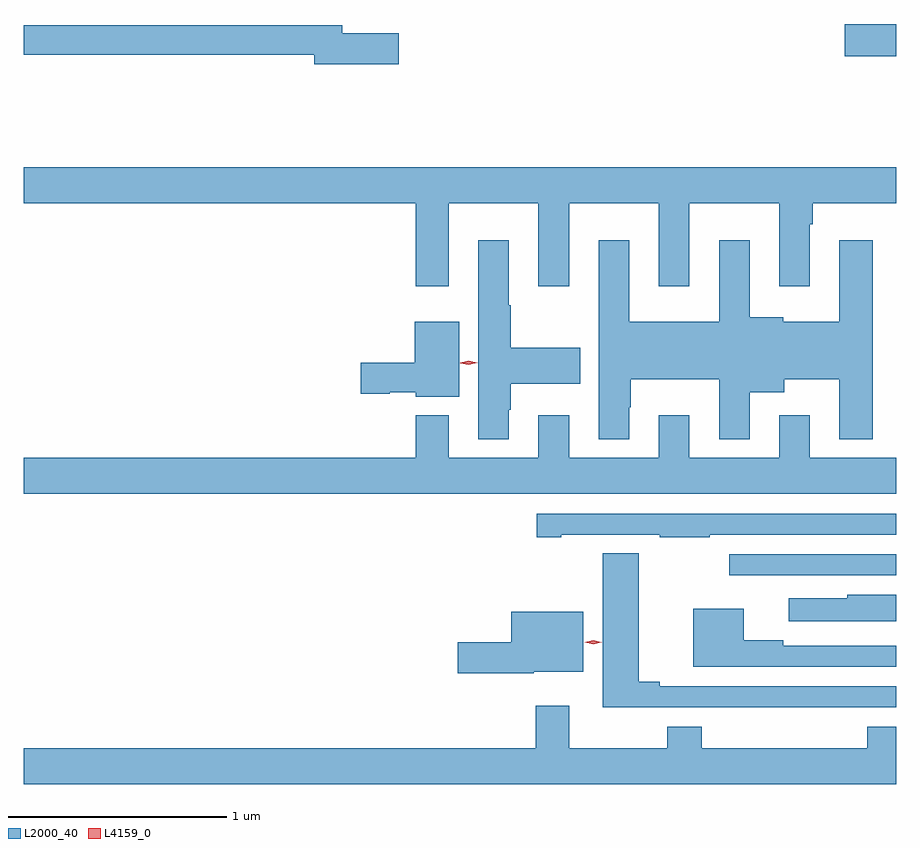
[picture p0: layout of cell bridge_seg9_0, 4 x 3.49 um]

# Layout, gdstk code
import gdstk
lib = gdstk.Library(unit=1e-6, precision=1e-09)
def R(c, l, rs):  # rectangles x0, y0, x1, y1
    for r in rs: c.add(gdstk.rectangle(r[:2], r[2:], *l))
def P(c, l, *ps):  # polygons
    for p in ps: c.add(gdstk.Polygon(p, *l))
L2000_40 = (2000, 40)
L4159_0 = (4159, 0)

bridge_seg9_0 = lib.new_cell('bridge_seg9_0')
R(bridge_seg9_0, L2000_40, [(1056.357,1245.33,1057.123,1245.426), (1056.888,1247.711,1057.123,1247.858)])
P(bridge_seg9_0, L2000_40, [(1054.843,1247.816),(1054.582,1247.816),(1054.582,1247.852),(1053.123,1247.852),(1053.123,1247.716),(1054.454,1247.716),(1054.454,1247.674),(1054.843,1247.674)],
  [(1055.071,1247.036),(1055.483,1247.036),(1055.483,1246.656),(1055.623,1246.656),(1055.623,1247.036),(1056.035,1247.036),(1056.035,1246.656),(1056.175,1246.656),(1056.175,1247.036),(1056.587,1247.036),(1056.587,1246.656),(1056.727,1246.656),(1056.727,1246.94),(1056.74,1246.94),(1056.74,1247.036),(1057.123,1247.036),(1057.123,1247.2),(1053.123,1247.2),(1053.123,1247.036),(1054.919,1247.036),(1054.919,1246.656),(1055.071,1246.656)],
  [(1055.899,1246.1),(1055.907,1246.1),(1055.907,1246.229),(1056.311,1246.229),(1056.311,1245.954),(1056.451,1245.954),(1056.451,1246.169),(1056.61,1246.169),(1056.61,1246.229),(1056.863,1246.229),(1056.863,1245.954),(1057.016,1245.954),(1057.016,1246.867),(1056.863,1246.867),(1056.863,1246.492),(1056.606,1246.492),(1056.606,1246.513),(1056.451,1246.513),(1056.451,1246.867),(1056.311,1246.867),(1056.311,1246.492),(1055.899,1246.492),(1055.899,1246.867),(1055.759,1246.867),(1055.759,1245.954),(1055.899,1245.954)],
  [(1055.347,1246.089),(1055.355,1246.089),(1055.355,1246.208),(1055.674,1246.208),(1055.674,1246.372),(1055.355,1246.372),(1055.355,1246.568),(1055.347,1246.568),(1055.347,1246.867),(1055.207,1246.867),(1055.207,1245.954),(1055.347,1245.954)],
  [(1055.119,1246.492),(1054.916,1246.492),(1054.916,1246.304),(1054.668,1246.304),(1054.668,1246.162),(1054.8,1246.162),(1054.8,1246.169),(1054.92,1246.169),(1054.92,1246.148),(1055.119,1246.148)],
  [(1057.123,1245.868),(1056.727,1245.868),(1056.727,1246.063),(1056.587,1246.063),(1056.587,1245.868),(1056.175,1245.868),(1056.175,1246.063),(1056.035,1246.063),(1056.035,1245.868),(1055.623,1245.868),(1055.623,1246.063),(1055.483,1246.063),(1055.483,1245.868),(1055.071,1245.868),(1055.071,1246.063),(1054.919,1246.063),(1054.919,1245.868),(1053.123,1245.868),(1053.123,1245.704),(1057.123,1245.704)],
  [(1055.587,1245.516),(1056.04,1245.516),(1056.04,1245.504),(1056.269,1245.504),(1056.269,1245.516),(1057.123,1245.516),(1057.123,1245.612),(1055.475,1245.612),(1055.475,1245.504),(1055.587,1245.504)],
  [(1055.984,1244.724),(1056.316,1244.724),(1056.316,1244.723),(1056.908,1244.723),(1056.908,1244.724),(1057.123,1244.724),(1057.123,1244.82),(1056.04,1244.82),(1056.04,1244.84),(1055.944,1244.84),(1055.944,1245.431),(1055.777,1245.431),(1055.777,1244.723),(1055.984,1244.723)],
  [(1057.123,1245.241),(1056.9,1245.241),(1056.9,1245.223),(1056.63,1245.223),(1056.63,1245.119),(1057.123,1245.119)],
  [(1056.42,1244.91),(1057.123,1244.91),(1057.123,1245.006),(1056.606,1245.006),(1056.606,1245.031),(1056.424,1245.031),(1056.424,1245.175),(1056.194,1245.175),(1056.194,1244.909),(1056.42,1244.909)],
  [(1055.461,1244.888),(1055.689,1244.888),(1055.689,1245.163),(1055.357,1245.163),(1055.357,1245.023),(1055.112,1245.023),(1055.112,1244.881),(1055.461,1244.881)],
  [(1057.123,1244.635),(1056.992,1244.635),(1056.992,1244.536),(1056.233,1244.536),(1056.233,1244.635),(1056.073,1244.635),(1056.073,1244.536),(1055.623,1244.536),(1055.623,1244.731),(1055.471,1244.731),(1055.471,1244.536),(1053.123,1244.536),(1053.123,1244.372),(1057.123,1244.372)])
P(bridge_seg9_0, L4159_0, [(1055.734,1245.012),(1055.695,1245.022),(1055.694,1245.022),(1055.695,1245.022),(1055.734,1245.032),(1055.772,1245.022),(1055.773,1245.022),(1055.772,1245.022)],
  [(1055.164,1246.294),(1055.125,1246.303),(1055.125,1246.304),(1055.125,1246.304),(1055.163,1246.314),(1055.202,1246.305),(1055.202,1246.304),(1055.202,1246.304)])

lib.write_gds('bridge_seg9_0.gds')
